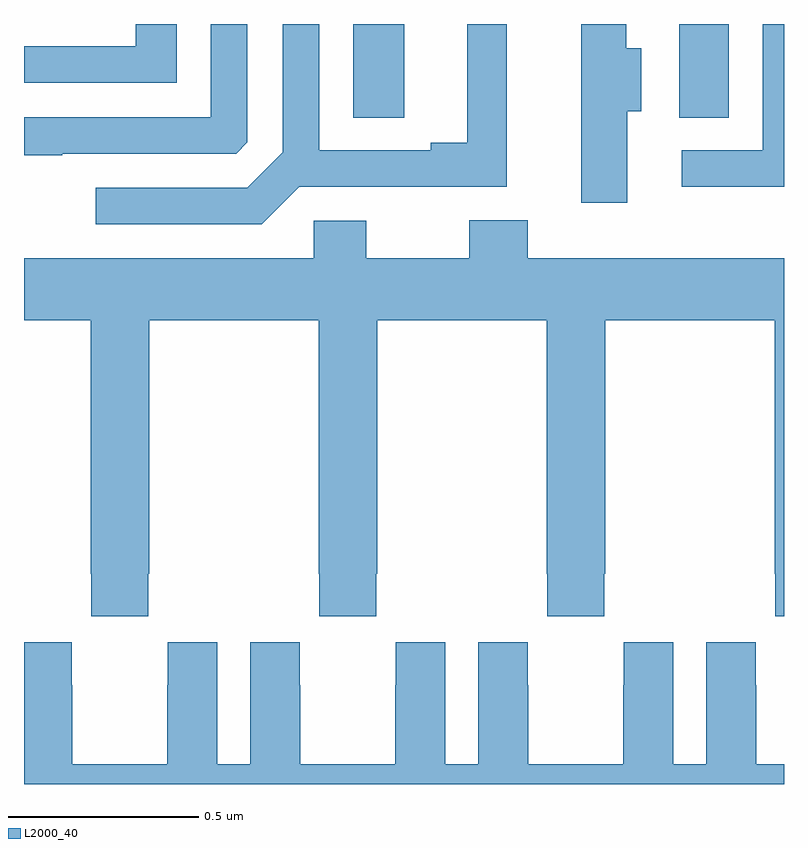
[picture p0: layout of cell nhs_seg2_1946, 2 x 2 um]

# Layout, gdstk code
import gdstk
lib = gdstk.Library(unit=1e-6, precision=1e-09)
def R(c, l, rs):  # rectangles x0, y0, x1, y1
    for r in rs: c.add(gdstk.rectangle(r[:2], r[2:], *l))
def P(c, l, *ps):  # polygons
    for p in ps: c.add(gdstk.Polygon(p, *l))
L2000_40 = (2000, 40)

nhs_seg2_1946 = lib.new_cell('nhs_seg2_1946')
R(nhs_seg2_1946, L2000_40, [(135.866,597.553,136,597.8), (136.724,597.553,136.855,597.8)])
P(nhs_seg2_1946, L2000_40, [(137,597.8),(136.944,597.8),(136.944,597.468),(136.731,597.468),(136.731,597.372),(137,597.372)],
  [(135.402,597.8),(135.294,597.8),(135.294,597.742),(135.039,597.742),(135.039,597.741),(135,597.741),(135,597.645),(135.402,597.645)],
  [(135.101,597.459),(135.558,597.459),(135.588,597.489),(135.588,597.8),(135.492,597.8),(135.492,597.555),(135,597.555),(135,597.454),(135.101,597.454)],
  [(135.724,597.372),(136.27,597.372),(136.27,597.8),(136.166,597.8),(136.166,597.488),(136.07,597.488),(136.07,597.468),(135.777,597.468),(135.777,597.8),(135.681,597.8),(135.681,597.462),(135.588,597.369),(135.189,597.369),(135.189,597.273),(135.625,597.273)],
  [(136.588,597.571),(136.624,597.571),(136.624,597.736),(136.585,597.736),(136.585,597.8),(136.466,597.8),(136.466,597.33),(136.588,597.33)],
  [(135.327,596.353),(135.33,596.353),(135.33,597.02),(135.775,597.02),(135.775,596.353),(135.777,596.353),(135.777,596.241),(135.927,596.241),(135.927,596.353),(135.93,596.353),(135.93,597.02),(136.375,597.02),(136.375,596.353),(136.377,596.353),(136.377,596.241),(136.527,596.241),(136.527,596.353),(136.53,596.353),(136.53,597.02),(136.975,597.02),(136.975,596.353),(136.977,596.353),(136.977,596.241),(137,596.241),(137,597.184),(136.325,597.184),(136.325,597.283),(136.172,597.283),(136.172,597.184),(135.901,597.184),(135.901,597.282),(135.762,597.282),(135.762,597.184),(135,597.184),(135,597.02),(135.175,597.02),(135.175,596.353),(135.177,596.353),(135.177,596.241),(135.327,596.241)],
  [(137,595.852),(136.927,595.852),(136.927,596.06),(136.926,596.06),(136.926,596.173),(136.796,596.173),(136.796,595.852),(136.708,595.852),(136.708,596.173),(136.578,596.173),(136.578,596.06),(136.577,596.06),(136.577,595.852),(136.327,595.852),(136.327,596.06),(136.326,596.06),(136.326,596.173),(136.196,596.173),(136.196,595.852),(136.108,595.852),(136.108,596.173),(135.978,596.173),(135.978,596.06),(135.977,596.06),(135.977,595.852),(135.727,595.852),(135.727,596.06),(135.726,596.06),(135.726,596.173),(135.596,596.173),(135.596,595.852),(135.508,595.852),(135.508,596.173),(135.378,596.173),(135.378,596.06),(135.377,596.06),(135.377,595.852),(135.127,595.852),(135.127,596.06),(135.126,596.06),(135.126,596.173),(135,596.173),(135,595.8),(137,595.8)])

lib.write_gds('nhs_seg2_1946.gds')
